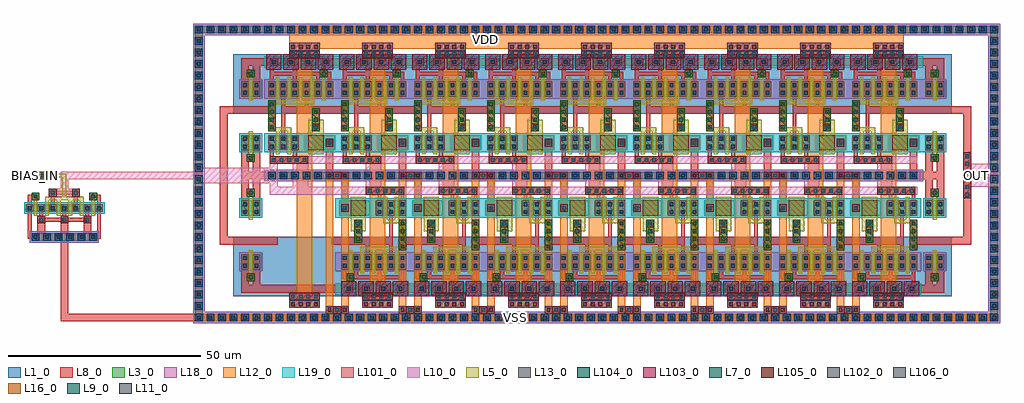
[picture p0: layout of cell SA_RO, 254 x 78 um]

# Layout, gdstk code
from math import pi, radians
import gdstk
lib = gdstk.Library(unit=1e-6, precision=5e-07)
def R(c, l, rs):  # rectangles x0, y0, x1, y1
    for r in rs: c.add(gdstk.rectangle(r[:2], r[2:], *l))
def P(c, l, *ps):  # polygons
    for p in ps: c.add(gdstk.Polygon(p, *l))
L1_0 = (1, 0)
L3_0 = (3, 0)
L5_0 = (5, 0)
L7_0 = (7, 0)
L8_0 = (8, 0)
L9_0 = (9, 0)
L10_0 = (10, 0)
L11_0 = (11, 0)
L12_0 = (12, 0)
L13_0 = (13, 0)
L16_0 = (16, 0)
L18_0 = (18, 0)
L19_0 = (19, 0)
L101_0 = (101, 0)
L102_0 = (102, 0)
L103_0 = (103, 0)
L104_0 = (104, 0)
L105_0 = (105, 0)
L106_0 = (106, 0)

pcont_1 = lib.new_cell('pcont$1')
R(pcont_1, L5_0, [(-1,-1,1,1)])
R(pcont_1, L7_0, [(-0.5,-0.5,0.5,0.5)])
R(pcont_1, L8_0, [(-1,-1,1,1)])
R(pcont_1, L13_0, [(-0.5,-0.5,0.5,0.5)])
R(pcont_1, L102_0, [(-1,-1,1,1)])

dcont_1 = lib.new_cell('dcont$1')
R(dcont_1, L3_0, [(-1,-1,1,1)])
R(dcont_1, L7_0, [(-0.5,-0.5,0.5,0.5)])
R(dcont_1, L8_0, [(-1,-1,1,1)])
R(dcont_1, L13_0, [(-0.5,-0.5,0.5,0.5)])
R(dcont_1, L101_0, [(-1,-1,1,1)])

nch = lib.new_cell('Nch')
R(nch, L3_0, [(0,3,8,7)])
R(nch, L19_0, [(-0.5,2.5,8.5,7.5)])
nch.add(gdstk.FlexPath([(1,3),(1,7)], 2, ends="flush", simple_path=True, layer=8, datatype=0))  # L8_0
nch.add(gdstk.FlexPath([(4,3),(4,7)], 2, ends="flush", simple_path=True, layer=8, datatype=0))  # L8_0
nch.add(gdstk.FlexPath([(7,3),(7,7)], 2, ends="flush", simple_path=True, layer=8, datatype=0))  # L8_0
nch.add(gdstk.FlexPath([(1,1),(1,4)], 1, ends="flush", simple_path=True, layer=8, datatype=0))  # L8_0
nch.add(gdstk.FlexPath([(4,6),(4,10)], 1, ends="flush", simple_path=True, layer=8, datatype=0))  # L8_0
nch.add(gdstk.FlexPath([(7,1),(7,4)], 1, ends="flush", simple_path=True, layer=8, datatype=0))  # L8_0
nch.add(gdstk.FlexPath([(1,1),(7,1)], 1, ends="extended", simple_path=True, layer=8, datatype=0))  # L8_0
nch.add(gdstk.FlexPath([(2.5,3),(2.5,7)], 1, ends=(1, 1), simple_path=True, layer=5, datatype=0))  # L5_0
nch.add(gdstk.FlexPath([(5.5,3),(5.5,7)], 1, ends=(1, 1), simple_path=True, layer=5, datatype=0))  # L5_0
nch.add(gdstk.FlexPath([(2,8.5),(6,8.5)], 1, ends="flush", simple_path=True, layer=5, datatype=0))  # L5_0
nch.add(gdstk.Reference(dcont_1, (1,4)))
nch.add(gdstk.Reference(dcont_1, (1,6)))
nch.add(gdstk.Reference(dcont_1, (4,4)))
nch.add(gdstk.Reference(dcont_1, (4,6)))
nch.add(gdstk.Reference(dcont_1, (7,4)))
nch.add(gdstk.Reference(dcont_1, (7,6)))

dcont1 = lib.new_cell('dcont1')
R(dcont1, L3_0, [(-1,-1,1,1)])
R(dcont1, L7_0, [(-0.5,-0.5,0.5,0.5)])
R(dcont1, L8_0, [(-1,-1,1,1)])
R(dcont1, L13_0, [(-0.5,-0.5,0.5,0.5)])
R(dcont1, L101_0, [(-1,-1,1,1)])

psubcont = lib.new_cell('psubcont')
R(psubcont, L18_0, [(-1.5,-1.5,1.5,1.5)])
R(psubcont, L104_0, [(-1,-1,1,1)])
psubcont.add(gdstk.Reference(dcont1, (0,0)))

pch = lib.new_cell('Pch')
R(pch, L1_0, [(-2,0,7,11.5)])
R(pch, L3_0, [(0,3,5,7)])
R(pch, L18_0, [(-0.5,2.5,5.5,7.5)])
pch.add(gdstk.FlexPath([(1,3),(1,7)], 2, ends="flush", simple_path=True, layer=8, datatype=0))  # L8_0
pch.add(gdstk.FlexPath([(4,3),(4,7)], 2, ends="flush", simple_path=True, layer=8, datatype=0))  # L8_0
pch.add(gdstk.FlexPath([(2.5,3),(2.5,7)], 1, ends=(1, 1), simple_path=True, layer=5, datatype=0))  # L5_0
pch.add(gdstk.Reference(dcont_1, (1,4)))
pch.add(gdstk.Reference(dcont_1, (1,6)))
pch.add(gdstk.Reference(dcont_1, (4,4)))
pch.add(gdstk.Reference(dcont_1, (4,6)))

pch_1 = lib.new_cell('Pch$1')
R(pch_1, L1_0, [(-2,-1.5,16,10)])
R(pch_1, L3_0, [(0,3,14,7)])
R(pch_1, L18_0, [(-0.5,2.5,14.5,7.5)])
pch_1.add(gdstk.FlexPath([(1,3),(1,7)], 2, ends="flush", simple_path=True, layer=8, datatype=0))  # L8_0
pch_1.add(gdstk.FlexPath([(4,3),(4,7)], 2, ends="flush", simple_path=True, layer=8, datatype=0))  # L8_0
pch_1.add(gdstk.FlexPath([(7,3),(7,7)], 2, ends="flush", simple_path=True, layer=8, datatype=0))  # L8_0
pch_1.add(gdstk.FlexPath([(10,3),(10,7)], 2, ends="flush", simple_path=True, layer=8, datatype=0))  # L8_0
pch_1.add(gdstk.FlexPath([(13,3),(13,7)], 2, ends="flush", simple_path=True, layer=8, datatype=0))  # L8_0
pch_1.add(gdstk.FlexPath([(1,6),(1,9)], 1, ends="flush", simple_path=True, layer=8, datatype=0))  # L8_0
pch_1.add(gdstk.FlexPath([(4,0),(4,4)], 1, ends="flush", simple_path=True, layer=8, datatype=0))  # L8_0
pch_1.add(gdstk.FlexPath([(7,6),(7,9)], 1, ends="flush", simple_path=True, layer=8, datatype=0))  # L8_0
pch_1.add(gdstk.FlexPath([(1,9),(7,9)], 1, ends="extended", simple_path=True, layer=8, datatype=0))  # L8_0
pch_1.add(gdstk.FlexPath([(10,0),(10,4)], 1, ends="flush", simple_path=True, layer=8, datatype=0))  # L8_0
pch_1.add(gdstk.FlexPath([(4,0),(10,0)], 1, ends="extended", simple_path=True, layer=8, datatype=0))  # L8_0
pch_1.add(gdstk.FlexPath([(13,6),(13,9)], 1, ends="flush", simple_path=True, layer=8, datatype=0))  # L8_0
pch_1.add(gdstk.FlexPath([(7,9),(13,9)], 1, ends="extended", simple_path=True, layer=8, datatype=0))  # L8_0
pch_1.add(gdstk.FlexPath([(2.5,3),(2.5,7)], 1, ends=(1, 1), simple_path=True, layer=5, datatype=0))  # L5_0
pch_1.add(gdstk.FlexPath([(5.5,3),(5.5,7)], 1, ends=(1, 1), simple_path=True, layer=5, datatype=0))  # L5_0
pch_1.add(gdstk.FlexPath([(8.5,3),(8.5,7)], 1, ends=(1, 1), simple_path=True, layer=5, datatype=0))  # L5_0
pch_1.add(gdstk.FlexPath([(11.5,3),(11.5,7)], 1, ends=(1, 1), simple_path=True, layer=5, datatype=0))  # L5_0
pch_1.add(gdstk.FlexPath([(2,1.5),(6,1.5)], 1, ends="flush", simple_path=True, layer=5, datatype=0))  # L5_0
pch_1.add(gdstk.FlexPath([(5,1.5),(9,1.5)], 1, ends="flush", simple_path=True, layer=5, datatype=0))  # L5_0
pch_1.add(gdstk.FlexPath([(8,1.5),(12,1.5)], 1, ends="flush", simple_path=True, layer=5, datatype=0))  # L5_0
pch_1.add(gdstk.Reference(dcont_1, (1,4)))
pch_1.add(gdstk.Reference(dcont_1, (1,6)))
pch_1.add(gdstk.Reference(dcont_1, (4,4)))
pch_1.add(gdstk.Reference(dcont_1, (4,6)))
pch_1.add(gdstk.Reference(dcont_1, (7,4)))
pch_1.add(gdstk.Reference(dcont_1, (7,6)))
pch_1.add(gdstk.Reference(dcont_1, (10,4)))
pch_1.add(gdstk.Reference(dcont_1, (10,6)))
pch_1.add(gdstk.Reference(dcont_1, (13,4)))
pch_1.add(gdstk.Reference(dcont_1, (13,6)))

pcont_2 = lib.new_cell('pcont$2')
R(pcont_2, L5_0, [(-1,-1,1,1)])
R(pcont_2, L7_0, [(-0.5,-0.5,0.5,0.5)])
R(pcont_2, L8_0, [(-1,-1,1,1)])
R(pcont_2, L13_0, [(-0.5,-0.5,0.5,0.5)])
R(pcont_2, L102_0, [(-1,-1,1,1)])

via_1 = lib.new_cell('Via$1')
R(via_1, L8_0, [(-1,-1,1,1)])
R(via_1, L9_0, [(-0.5,-0.5,0.5,0.5)])
R(via_1, L10_0, [(-1,-1,1,1)])
R(via_1, L13_0, [(-0.5,-0.5,0.5,0.5)])
R(via_1, L105_0, [(-1,-1,1,1)])

ndiff_cap = lib.new_cell('Ndiff_cap')
R(ndiff_cap, L3_0, [(0,-1,4,7)])
R(ndiff_cap, L5_0, [(-4,0,5,4)])
R(ndiff_cap, L16_0, [(0,0,4,4)])
R(ndiff_cap, L19_0, [(-0.5,-1.5,4.5,7.5)])
ndiff_cap.add(gdstk.Reference(pcont_2, (-2,2)))
ndiff_cap.add(gdstk.Reference(via_1, (-2,2)))
ndiff_cap.add(gdstk.Reference(dcont_1, (2,5.5)))
ndiff_cap.add(gdstk.Reference(via_1, (2,5.5)))

nsubcont = lib.new_cell('nsubcont')
R(nsubcont, L1_0, [(-2,-2,2,2)])
R(nsubcont, L19_0, [(-1.5,-1.5,1.5,1.5)])
R(nsubcont, L103_0, [(-2,-2,2,2)])
nsubcont.add(gdstk.Reference(dcont1, (0,0)))

via_2 = lib.new_cell('Via$2')
R(via_2, L8_0, [(-1,-1,1,1)])
R(via_2, L9_0, [(-0.5,-0.5,0.5,0.5)])
R(via_2, L10_0, [(-1,-1,1,1)])
R(via_2, L13_0, [(-0.5,-0.5,0.5,0.5)])
R(via_2, L105_0, [(-1,-1,1,1)])

sa_vco_inv = lib.new_cell('SA_VCO_INV')
R(sa_vco_inv, L1_0, [(-1.5,17.5,19.5,33)])
R(sa_vco_inv, L3_0, [(0.5,0.5,17.5,2.5), (1,30,16.5,32)])
R(sa_vco_inv, L18_0, [(-0.5,0,19,3), (-0.5,21.5,19,26.5)])
R(sa_vco_inv, L19_0, [(-0.5,7.5,19,12.5), (9,7.5,9.5,12.5), (-0.5,29.5,19,32.5)])
sa_vco_inv.add(gdstk.FlexPath([(4.5,18.5),(20,18.5)], 2, ends="flush", simple_path=True, layer=8, datatype=0))  # L8_0
sa_vco_inv.add(gdstk.FlexPath([(4.5,15),(4.5,19)], 1, ends="flush", simple_path=True, layer=8, datatype=0))  # L8_0
sa_vco_inv.add(gdstk.FlexPath([(0.5,1.5),(17.5,1.5)], 2, ends="flush", simple_path=True, layer=8, datatype=0))  # L8_0
sa_vco_inv.add(gdstk.FlexPath([(16.5,10),(16.5,1.5)], 2, ends="flush", simple_path=True, layer=8, datatype=0))  # L8_0
sa_vco_inv.add(gdstk.FlexPath([(16.5,25),(16.5,28),(14,28)], 1, ends="flush", simple_path=True, layer=8, datatype=0))  # L8_0
sa_vco_inv.add(gdstk.FlexPath([(0.5,31),(17.5,31)], 2, ends="flush", simple_path=True, layer=8, datatype=0))  # L8_0
sa_vco_inv.add(gdstk.FlexPath([(7.5,28),(7.5,31)], 1, ends="flush", simple_path=True, layer=8, datatype=0))  # L8_0
sa_vco_inv.add(gdstk.FlexPath([(15,28),(15,31)], 1, ends="flush", simple_path=True, layer=8, datatype=0))  # L8_0
sa_vco_inv.add(gdstk.FlexPath([(1.5,28),(1.5,31)], 1, ends="flush", simple_path=True, layer=8, datatype=0))  # L8_0
r = gdstk.Reference(pcont_1, (1.5,14)); r.repetition = gdstk.Repetition(1, 4, v1=(0,0), v2=(0,2)); sa_vco_inv.add(r)
sa_vco_inv.add(gdstk.Reference(nch, (0.5,5)))
sa_vco_inv.add(gdstk.Reference(pcont_1, (13,16)))
sa_vco_inv.add(gdstk.Reference(pcont_1, (13,18)))
r = gdstk.Reference(psubcont, (1.5,1.5)); r.repetition = gdstk.Repetition(6, 1, v1=(3,0), v2=(0,0)); sa_vco_inv.add(r)
sa_vco_inv.add(gdstk.Reference(pch, (17.5,29), rotation=pi))
sa_vco_inv.add(gdstk.Reference(pch_1, (0.5,19)))
sa_vco_inv.add(gdstk.Reference(pcont_1, (15,28)))
sa_vco_inv.add(gdstk.Reference(ndiff_cap, (11,12), rotation=3*pi/2))
r = gdstk.Reference(nsubcont, (2,31)); r.repetition = gdstk.Repetition(4, 1, v1=(4.5,0), v2=(0,0)); sa_vco_inv.add(r)
r = gdstk.Reference(via_2, (2,5.5)); r.repetition = gdstk.Repetition(5, 1, v1=(2,0), v2=(0,0)); sa_vco_inv.add(r)
sa_vco_inv.add(gdstk.Label('VDD', (1,31), layer=8, texttype=0))
sa_vco_inv.add(gdstk.Label('VSS', (1.5,1.5), layer=8, texttype=0))
sa_vco_inv.add(gdstk.Label('IN', (1.5,17), layer=8, texttype=0))
sa_vco_inv.add(gdstk.Label('OUT', (17.5,18.5), layer=8, texttype=0))
sa_vco_inv.add(gdstk.Label('nchSource', (2,5.5), layer=10, texttype=0))

dcont1_1 = lib.new_cell('dcont1$1')
R(dcont1_1, L3_0, [(-1,-1,1,1)])
R(dcont1_1, L7_0, [(-0.5,-0.5,0.5,0.5)])
R(dcont1_1, L8_0, [(-1,-1,1,1)])
R(dcont1_1, L13_0, [(-0.5,-0.5,0.5,0.5)])
R(dcont1_1, L101_0, [(-1,-1,1,1)])

psubcont_1 = lib.new_cell('psubcont$1')
R(psubcont_1, L18_0, [(-1.5,-1.5,1.5,1.5)])
R(psubcont_1, L104_0, [(-1,-1,1,1)])
psubcont_1.add(gdstk.Reference(dcont1_1, (0,0)))

via2 = lib.new_cell('Via2')
R(via2, L10_0, [(-1,-1,1,1)])
R(via2, L11_0, [(-0.5,-0.5,0.5,0.5)])
P(via2, L11_0, [(-1,0),(-1,0),(-1,0),(-1,0)],
  [(1,1),(1,1),(1,1),(1,1)])
R(via2, L12_0, [(-1,-1,1,1)])
R(via2, L13_0, [(-0.5,-0.5,0.5,0.5)])
R(via2, L106_0, [(-1,-1,1,1)])

via_3 = lib.new_cell('Via$3')
R(via_3, L8_0, [(-1,-1,1,1)])
R(via_3, L9_0, [(-0.5,-0.5,0.5,0.5)])
R(via_3, L10_0, [(-1,-1,1,1)])
R(via_3, L13_0, [(-0.5,-0.5,0.5,0.5)])
R(via_3, L105_0, [(-1,-1,1,1)])

sa_vco_inv_1 = lib.new_cell('SA_VCO_INV$1')
R(sa_vco_inv_1, L1_0, [(-1.5,17.5,19.5,33)])
R(sa_vco_inv_1, L3_0, [(0.5,0.5,17.5,2.5), (1,30,16.5,32)])
R(sa_vco_inv_1, L18_0, [(-0.5,0,19,3), (-0.5,21.5,19,26.5)])
R(sa_vco_inv_1, L19_0, [(-0.5,7.5,19,12.5), (9,7.5,9.5,12.5), (-0.5,29.5,19,32.5)])
sa_vco_inv_1.add(gdstk.FlexPath([(4.5,18.5),(20,18.5)], 2, ends="flush", simple_path=True, layer=8, datatype=0))  # L8_0
sa_vco_inv_1.add(gdstk.FlexPath([(4.5,15),(4.5,19)], 1, ends="flush", simple_path=True, layer=8, datatype=0))  # L8_0
sa_vco_inv_1.add(gdstk.FlexPath([(0.5,1.5),(17.5,1.5)], 2, ends="flush", simple_path=True, layer=8, datatype=0))  # L8_0
sa_vco_inv_1.add(gdstk.FlexPath([(16.5,10),(16.5,1.5)], 2, ends="flush", simple_path=True, layer=8, datatype=0))  # L8_0
sa_vco_inv_1.add(gdstk.FlexPath([(16.5,25),(16.5,28),(14,28)], 1, ends="flush", simple_path=True, layer=8, datatype=0))  # L8_0
sa_vco_inv_1.add(gdstk.FlexPath([(0.5,31),(17.5,31)], 2, ends="flush", simple_path=True, layer=8, datatype=0))  # L8_0
sa_vco_inv_1.add(gdstk.FlexPath([(7.5,28),(7.5,31)], 1, ends="flush", simple_path=True, layer=8, datatype=0))  # L8_0
sa_vco_inv_1.add(gdstk.FlexPath([(15,28),(15,31)], 1, ends="flush", simple_path=True, layer=8, datatype=0))  # L8_0
sa_vco_inv_1.add(gdstk.FlexPath([(1.5,28),(1.5,31)], 1, ends="flush", simple_path=True, layer=8, datatype=0))  # L8_0
r = gdstk.Reference(pcont_1, (1.5,14)); r.repetition = gdstk.Repetition(1, 4, v1=(0,0), v2=(0,2)); sa_vco_inv_1.add(r)
sa_vco_inv_1.add(gdstk.Reference(nch, (0.5,5)))
sa_vco_inv_1.add(gdstk.Reference(pcont_1, (13,16)))
sa_vco_inv_1.add(gdstk.Reference(pcont_1, (13,18)))
r = gdstk.Reference(psubcont, (1.5,1.5)); r.repetition = gdstk.Repetition(6, 1, v1=(3,0), v2=(0,0)); sa_vco_inv_1.add(r)
sa_vco_inv_1.add(gdstk.Reference(pch, (17.5,29), rotation=pi))
sa_vco_inv_1.add(gdstk.Reference(pch_1, (0.5,19)))
sa_vco_inv_1.add(gdstk.Reference(pcont_1, (15,28)))
sa_vco_inv_1.add(gdstk.Reference(ndiff_cap, (11,12), rotation=3*pi/2))
r = gdstk.Reference(nsubcont, (2,31)); r.repetition = gdstk.Repetition(4, 1, v1=(4.5,0), v2=(0,0)); sa_vco_inv_1.add(r)
r = gdstk.Reference(via_2, (2,5.5)); r.repetition = gdstk.Repetition(5, 1, v1=(2,0), v2=(0,0)); sa_vco_inv_1.add(r)
sa_vco_inv_1.add(gdstk.Label('VDD', (1,31), layer=8, texttype=0))
sa_vco_inv_1.add(gdstk.Label('VSS', (1.5,1.5), layer=8, texttype=0))
sa_vco_inv_1.add(gdstk.Label('IN', (1.5,17), layer=8, texttype=0))
sa_vco_inv_1.add(gdstk.Label('OUT', (17.5,18.5), layer=8, texttype=0))
sa_vco_inv_1.add(gdstk.Label('nchSource', (2,5.5), layer=10, texttype=0))

pcont_4 = lib.new_cell('pcont$4')
R(pcont_4, L5_0, [(-1,-1,1,1)])
R(pcont_4, L7_0, [(-0.5,-0.5,0.5,0.5)])
R(pcont_4, L8_0, [(-1,-1,1,1)])
R(pcont_4, L13_0, [(-0.5,-0.5,0.5,0.5)])
R(pcont_4, L102_0, [(-1,-1,1,1)])

dcont = lib.new_cell('dcont')
R(dcont, L3_0, [(-1,-1,1,1)])
R(dcont, L7_0, [(-0.5,-0.5,0.5,0.5)])
R(dcont, L8_0, [(-1,-1,1,1)])
R(dcont, L13_0, [(-0.5,-0.5,0.5,0.5)])
R(dcont, L101_0, [(-1,-1,1,1)])

nch_2 = lib.new_cell('Nch$2')
R(nch_2, L3_0, [(0,3,5,7)])
R(nch_2, L19_0, [(-0.5,2.5,5.5,7.5)])
nch_2.add(gdstk.FlexPath([(1,3),(1,7)], 2, ends="flush", simple_path=True, layer=8, datatype=0))  # L8_0
nch_2.add(gdstk.FlexPath([(4,3),(4,7)], 2, ends="flush", simple_path=True, layer=8, datatype=0))  # L8_0
nch_2.add(gdstk.FlexPath([(2.5,3),(2.5,7)], 1, ends=(1, 1), simple_path=True, layer=5, datatype=0))  # L5_0
nch_2.add(gdstk.Reference(dcont, (1,4)))
nch_2.add(gdstk.Reference(dcont, (1,6)))
nch_2.add(gdstk.Reference(dcont, (4,4)))
nch_2.add(gdstk.Reference(dcont, (4,6)))

pcont_3 = lib.new_cell('pcont$3')
R(pcont_3, L5_0, [(-1,-1,1,1)])
R(pcont_3, L7_0, [(-0.5,-0.5,0.5,0.5)])
R(pcont_3, L8_0, [(-1,-1,1,1)])
R(pcont_3, L13_0, [(-0.5,-0.5,0.5,0.5)])
R(pcont_3, L102_0, [(-1,-1,1,1)])

pch_3 = lib.new_cell('Pch$3')
R(pch_3, L1_0, [(-2,0,7,11.5)])
R(pch_3, L3_0, [(0,3,5,7)])
R(pch_3, L18_0, [(-0.5,2.5,5.5,7.5)])
pch_3.add(gdstk.FlexPath([(1,3),(1,7)], 2, ends="flush", simple_path=True, layer=8, datatype=0))  # L8_0
pch_3.add(gdstk.FlexPath([(4,3),(4,7)], 2, ends="flush", simple_path=True, layer=8, datatype=0))  # L8_0
pch_3.add(gdstk.FlexPath([(2.5,3),(2.5,7)], 1, ends=(1, 1), simple_path=True, layer=5, datatype=0))  # L5_0
pch_3.add(gdstk.Reference(dcont, (1,4)))
pch_3.add(gdstk.Reference(dcont, (1,6)))
pch_3.add(gdstk.Reference(dcont, (4,4)))
pch_3.add(gdstk.Reference(dcont, (4,6)))

dcont1_2 = lib.new_cell('dcont1$2')
R(dcont1_2, L3_0, [(-1,-1,1,1)])
R(dcont1_2, L7_0, [(-0.5,-0.5,0.5,0.5)])
R(dcont1_2, L8_0, [(-1,-1,1,1)])
R(dcont1_2, L13_0, [(-0.5,-0.5,0.5,0.5)])
R(dcont1_2, L101_0, [(-1,-1,1,1)])

psubcont_2 = lib.new_cell('psubcont$2')
R(psubcont_2, L18_0, [(-1.5,-1.5,1.5,1.5)])
R(psubcont_2, L104_0, [(-1,-1,1,1)])
psubcont_2.add(gdstk.Reference(dcont1_2, (0,0)))

via = lib.new_cell('Via')
R(via, L8_0, [(-1,-1,1,1)])
R(via, L9_0, [(-0.5,-0.5,0.5,0.5)])
R(via, L10_0, [(-1,-1,1,1)])
R(via, L13_0, [(-0.5,-0.5,0.5,0.5)])
R(via, L105_0, [(-1,-1,1,1)])

nch_5 = lib.new_cell('Nch$5')
R(nch_5, L3_0, [(0,3,14,5)])
R(nch_5, L19_0, [(-0.5,2.5,14.5,5.5)])
nch_5.add(gdstk.FlexPath([(1,3),(1,5)], 2, ends="flush", simple_path=True, layer=8, datatype=0))  # L8_0
nch_5.add(gdstk.FlexPath([(4,3),(4,5)], 2, ends="flush", simple_path=True, layer=8, datatype=0))  # L8_0
nch_5.add(gdstk.FlexPath([(7,3),(7,5)], 2, ends="flush", simple_path=True, layer=8, datatype=0))  # L8_0
nch_5.add(gdstk.FlexPath([(10,3),(10,5)], 2, ends="flush", simple_path=True, layer=8, datatype=0))  # L8_0
nch_5.add(gdstk.FlexPath([(13,3),(13,5)], 2, ends="flush", simple_path=True, layer=8, datatype=0))  # L8_0
nch_5.add(gdstk.FlexPath([(1,1),(1,4)], 1, ends="flush", simple_path=True, layer=8, datatype=0))  # L8_0
nch_5.add(gdstk.FlexPath([(4,4),(4,8)], 1, ends="flush", simple_path=True, layer=8, datatype=0))  # L8_0
nch_5.add(gdstk.FlexPath([(7,1),(7,4)], 1, ends="flush", simple_path=True, layer=8, datatype=0))  # L8_0
nch_5.add(gdstk.FlexPath([(1,1),(7,1)], 1, ends="extended", simple_path=True, layer=8, datatype=0))  # L8_0
nch_5.add(gdstk.FlexPath([(10,4),(10,8)], 1, ends="flush", simple_path=True, layer=8, datatype=0))  # L8_0
nch_5.add(gdstk.FlexPath([(4,8),(10,8)], 1, ends="extended", simple_path=True, layer=8, datatype=0))  # L8_0
nch_5.add(gdstk.FlexPath([(13,1),(13,4)], 1, ends="flush", simple_path=True, layer=8, datatype=0))  # L8_0
nch_5.add(gdstk.FlexPath([(7,1),(13,1)], 1, ends="extended", simple_path=True, layer=8, datatype=0))  # L8_0
nch_5.add(gdstk.FlexPath([(2.5,3),(2.5,5)], 1, ends=(1, 1), simple_path=True, layer=5, datatype=0))  # L5_0
nch_5.add(gdstk.FlexPath([(5.5,3),(5.5,5)], 1, ends=(1, 1), simple_path=True, layer=5, datatype=0))  # L5_0
nch_5.add(gdstk.FlexPath([(8.5,3),(8.5,5)], 1, ends=(1, 1), simple_path=True, layer=5, datatype=0))  # L5_0
nch_5.add(gdstk.FlexPath([(11.5,3),(11.5,5)], 1, ends=(1, 1), simple_path=True, layer=5, datatype=0))  # L5_0
nch_5.add(gdstk.FlexPath([(2,6.5),(6,6.5)], 1, ends="flush", simple_path=True, layer=5, datatype=0))  # L5_0
nch_5.add(gdstk.FlexPath([(5,6.5),(9,6.5)], 1, ends="flush", simple_path=True, layer=5, datatype=0))  # L5_0
nch_5.add(gdstk.FlexPath([(8,6.5),(12,6.5)], 1, ends="flush", simple_path=True, layer=5, datatype=0))  # L5_0
nch_5.add(gdstk.Reference(dcont, (1,4)))
nch_5.add(gdstk.Reference(dcont, (4,4)))
nch_5.add(gdstk.Reference(dcont, (7,4)))
nch_5.add(gdstk.Reference(dcont, (10,4)))
nch_5.add(gdstk.Reference(dcont, (13,4)))
nch_5.add(gdstk.Reference(via, (1,1)))
nch_5.add(gdstk.Reference(via, (4,8)))
nch_5.add(gdstk.Reference(via, (7,1)))
nch_5.add(gdstk.Reference(via, (10,8)))
nch_5.add(gdstk.Reference(via, (13,1)))

pcont = lib.new_cell('pcont')
R(pcont, L5_0, [(-1,-1,1,1)])
R(pcont, L7_0, [(-0.5,-0.5,0.5,0.5)])
R(pcont, L8_0, [(-1,-1,1,1)])
R(pcont, L13_0, [(-0.5,-0.5,0.5,0.5)])
R(pcont, L102_0, [(-1,-1,1,1)])

nch_4 = lib.new_cell('Nch$4')
R(nch_4, L3_0, [(0,3,5,5)])
R(nch_4, L19_0, [(-0.5,2.5,5.5,5.5)])
nch_4.add(gdstk.FlexPath([(1,3),(1,5)], 2, ends="flush", simple_path=True, layer=8, datatype=0))  # L8_0
nch_4.add(gdstk.FlexPath([(4,3),(4,5)], 2, ends="flush", simple_path=True, layer=8, datatype=0))  # L8_0
nch_4.add(gdstk.FlexPath([(2.5,3),(2.5,5)], 1, ends=(1, 1), simple_path=True, layer=5, datatype=0))  # L5_0
nch_4.add(gdstk.FlexPath([(2.5,7),(2.5,6)], 2, ends="flush", simple_path=True, layer=5, datatype=0))  # L5_0
nch_4.add(gdstk.Reference(dcont, (1,4)))
nch_4.add(gdstk.Reference(dcont, (4,4)))
nch_4.add(gdstk.Reference(pcont, (2.5,7)))

sa_ro = lib.new_cell('SA_RO')
R(sa_ro, L1_0, [(10.5,7,197.5,22.5), (10.5,54.5,197.5,70)])
sa_ro.add(gdstk.FlexPath([(-26,22.5),(-41,22.5)], 2, ends="extended", simple_path=True, layer=8, datatype=0))  # L8_0
sa_ro.add(gdstk.FlexPath([(1.5,1.5),(-33.5,1.5),(-33.5,22.5)], 2, ends="extended", simple_path=True, layer=8, datatype=0))  # L8_0
sa_ro.add(gdstk.FlexPath([(-39.5,27),(-39.5,22.5)], 2, ends="extended", simple_path=True, layer=8, datatype=0))  # L8_0
sa_ro.add(gdstk.FlexPath([(-33.5,27),(-33.5,22.5)], 2, ends="extended", simple_path=True, layer=8, datatype=0))  # L8_0
sa_ro.add(gdstk.FlexPath([(-27.5,27),(-27.5,22.5)], 2, ends="extended", simple_path=True, layer=8, datatype=0))  # L8_0
sa_ro.add(gdstk.FlexPath([(-26,33),(-24.5,33),(-24.5,30)], 1, ends="extended", simple_path=True, layer=8, datatype=0))  # L8_0
sa_ro.add(gdstk.FlexPath([(-41,33),(-42.5,33),(-42.5,30)], 1, ends="extended", simple_path=True, layer=8, datatype=0))  # L8_0
sa_ro.add(gdstk.FlexPath([(-24.5,30),(-24.5,22.5),(-42.5,22.5),(-42.5,30)], 1, ends="extended", simple_path=True, layer=8, datatype=0))  # L8_0
sa_ro.add(gdstk.FlexPath([(195.5,68),(12.5,68)], 2, ends="flush", simple_path=True, layer=8, datatype=0))  # L8_0
sa_ro.add(gdstk.FlexPath([(20.5,9),(189.5,9),(189.5,9),(189.5,9)], 2, ends="extended", simple_path=True, layer=8, datatype=0))  # L8_0
sa_ro.add(gdstk.FlexPath([(20.5,38.5),(189.5,38.5),(189.5,38.5),(189.5,38.5)], 2, ends="extended", simple_path=True, layer=8, datatype=0))  # L8_0
sa_ro.add(gdstk.FlexPath([(191,55.5),(201.5,55.5),(201.5,21.5),(188.5,21.5)], 2, ends="extended", simple_path=True, layer=8, datatype=0))  # L8_0
sa_ro.add(gdstk.FlexPath([(18.5,55.5),(8,55.5),(8,21.5),(21,21.5)], 2, ends="extended", simple_path=True, layer=8, datatype=0))  # L8_0
sa_ro.add(gdstk.FlexPath([(195.5,9),(12.5,9)], 2, ends="flush", simple_path=True, layer=8, datatype=0))  # L8_0
sa_ro.add(gdstk.FlexPath([(195.5,38.5),(12.5,38.5)], 2, ends="flush", simple_path=True, layer=8, datatype=0))  # L8_0
sa_ro.add(gdstk.FlexPath([(13.5,61),(13.5,68)], 2, ends="extended", simple_path=True, layer=8, datatype=0))  # L8_0
sa_ro.add(gdstk.FlexPath([(16.5,61),(16.5,68)], 2, ends="extended", simple_path=True, layer=8, datatype=0))  # L8_0
sa_ro.add(gdstk.FlexPath([(13.5,38.5),(13.5,45.5)], 2, ends="extended", simple_path=True, layer=8, datatype=0))  # L8_0
sa_ro.add(gdstk.FlexPath([(16.5,38.5),(16.5,45.5)], 2, ends="extended", simple_path=True, layer=8, datatype=0))  # L8_0
sa_ro.add(gdstk.FlexPath([(13.5,31.5),(13.5,38.5)], 2, ends="extended", simple_path=True, layer=8, datatype=0))  # L8_0
sa_ro.add(gdstk.FlexPath([(16.5,31.5),(16.5,38.5)], 2, ends="extended", simple_path=True, layer=8, datatype=0))  # L8_0
sa_ro.add(gdstk.FlexPath([(13.5,9),(13.5,16)], 2, ends="extended", simple_path=True, layer=8, datatype=0))  # L8_0
sa_ro.add(gdstk.FlexPath([(16.5,9),(16.5,16)], 2, ends="extended", simple_path=True, layer=8, datatype=0))  # L8_0
sa_ro.add(gdstk.FlexPath([(191.5,61),(191.5,68)], 2, ends="extended", simple_path=True, layer=8, datatype=0))  # L8_0
sa_ro.add(gdstk.FlexPath([(194.5,61),(194.5,68)], 2, ends="extended", simple_path=True, layer=8, datatype=0))  # L8_0
sa_ro.add(gdstk.FlexPath([(191.5,38.5),(191.5,45.5)], 2, ends="extended", simple_path=True, layer=8, datatype=0))  # L8_0
sa_ro.add(gdstk.FlexPath([(194.5,38.5),(194.5,45.5)], 2, ends="extended", simple_path=True, layer=8, datatype=0))  # L8_0
sa_ro.add(gdstk.FlexPath([(191.5,31.5),(191.5,38.5)], 2, ends="extended", simple_path=True, layer=8, datatype=0))  # L8_0
sa_ro.add(gdstk.FlexPath([(194.5,31.5),(194.5,38.5)], 2, ends="extended", simple_path=True, layer=8, datatype=0))  # L8_0
sa_ro.add(gdstk.FlexPath([(191.5,9),(191.5,16)], 2, ends="extended", simple_path=True, layer=8, datatype=0))  # L8_0
sa_ro.add(gdstk.FlexPath([(194.5,9),(194.5,16)], 2, ends="extended", simple_path=True, layer=8, datatype=0))  # L8_0
sa_ro.add(gdstk.FlexPath([(1.5,76.5),(1.5,1.5)], 2, ends="extended", simple_path=True, layer=8, datatype=0))  # L8_0
sa_ro.add(gdstk.FlexPath([(208.5,76.5),(208.5,1.5)], 2, ends="extended", simple_path=True, layer=8, datatype=0))  # L8_0
sa_ro.add(gdstk.FlexPath([(208.5,76.5),(1.5,76.5)], 2, ends="extended", simple_path=True, layer=8, datatype=0))  # L8_0
sa_ro.add(gdstk.FlexPath([(208.5,1.5),(1.5,1.5)], 2, ends="extended", simple_path=True, layer=8, datatype=0))  # L8_0
sa_ro.add(gdstk.FlexPath([(1.5,38.5),(-33.5,38.5),(-33.5,34)], 2, ends="extended", simple_path=True, layer=10, datatype=0))  # L10_0
sa_ro.add(gdstk.FlexPath([(-30.5,34),(-36.5,34)], 2, ends="extended", simple_path=True, layer=10, datatype=0))  # L10_0
sa_ro.add(gdstk.FlexPath([(20,42.5),(188.5,42.5)], 2, ends="flush", simple_path=True, layer=10, datatype=0))  # L10_0
sa_ro.add(gdstk.FlexPath([(20,34.5),(188.5,34.5)], 2, ends="flush", simple_path=True, layer=10, datatype=0))  # L10_0
sa_ro.add(gdstk.FlexPath([(21,42.5),(21,34.5)], 2, ends="extended", simple_path=True, layer=10, datatype=0))  # L10_0
sa_ro.add(gdstk.FlexPath([(21,38.5),(0,38.5)], 4, ends="flush", simple_path=True, layer=10, datatype=0))  # L10_0
sa_ro.add(gdstk.FlexPath([(201.5,38.5),(209.5,38.5)], 6, ends="flush", simple_path=True, layer=10, datatype=0))  # L10_0
sa_ro.add(gdstk.FlexPath([(28,34.5),(28,42.5)], 4, ends="flush", simple_path=True, layer=10, datatype=0))  # L10_0
sa_ro.add(gdstk.FlexPath([(47,34.5),(47,42.5)], 4, ends="flush", simple_path=True, layer=10, datatype=0))  # L10_0
sa_ro.add(gdstk.FlexPath([(66,34.5),(66,42.5)], 4, ends="flush", simple_path=True, layer=10, datatype=0))  # L10_0
sa_ro.add(gdstk.FlexPath([(85,34.5),(85,42.5)], 4, ends="flush", simple_path=True, layer=10, datatype=0))  # L10_0
sa_ro.add(gdstk.FlexPath([(104,34.5),(104,42.5)], 4, ends="flush", simple_path=True, layer=10, datatype=0))  # L10_0
sa_ro.add(gdstk.FlexPath([(123,34.5),(123,42.5)], 4, ends="flush", simple_path=True, layer=10, datatype=0))  # L10_0
sa_ro.add(gdstk.FlexPath([(142,34.5),(142,42.5)], 4, ends="flush", simple_path=True, layer=10, datatype=0))  # L10_0
sa_ro.add(gdstk.FlexPath([(161,34.5),(161,42.5)], 4, ends="flush", simple_path=True, layer=10, datatype=0))  # L10_0
sa_ro.add(gdstk.FlexPath([(180,34.5),(180,42.5)], 4, ends="flush", simple_path=True, layer=10, datatype=0))  # L10_0
sa_ro.add(gdstk.FlexPath([(-33.5,32.5),(-33.5,38.5),(-41,38.5)], 1, ends="extended", simple_path=True, layer=5, datatype=0))  # L5_0
sa_ro.add(gdstk.FlexPath([(-26,22.5),(-41,22.5)], 2, ends="extended", simple_path=True, layer=3, datatype=0))  # L3_0
sa_ro.add(gdstk.FlexPath([(1.5,76.5),(208.5,76.5)], 2, ends="extended", simple_path=True, layer=3, datatype=0))  # L3_0
sa_ro.add(gdstk.FlexPath([(1.5,1.5),(208.5,1.5)], 2, ends="extended", simple_path=True, layer=3, datatype=0))  # L3_0
sa_ro.add(gdstk.FlexPath([(1.5,1.5),(1.5,76.5),(1.5,76.5)], 2, ends="extended", simple_path=True, layer=3, datatype=0))  # L3_0
sa_ro.add(gdstk.FlexPath([(208.5,1.5),(208.5,76.5),(208.5,76.5)], 2, ends="extended", simple_path=True, layer=3, datatype=0))  # L3_0
sa_ro.add(gdstk.FlexPath([(35.5,3.5),(35.5,38.5)], 2, ends="extended", simple_path=True, layer=12, datatype=0))  # L12_0
sa_ro.add(gdstk.FlexPath([(39.5,3.5),(39.5,38.5)], 2, ends="extended", simple_path=True, layer=12, datatype=0))  # L12_0
sa_ro.add(gdstk.FlexPath([(54.5,3.5),(54.5,38.5)], 2, ends="extended", simple_path=True, layer=12, datatype=0))  # L12_0
sa_ro.add(gdstk.FlexPath([(58.5,3.5),(58.5,38.5)], 2, ends="extended", simple_path=True, layer=12, datatype=0))  # L12_0
sa_ro.add(gdstk.FlexPath([(73.5,3.5),(73.5,38.5)], 2, ends="extended", simple_path=True, layer=12, datatype=0))  # L12_0
sa_ro.add(gdstk.FlexPath([(77.5,3.5),(77.5,38.5)], 2, ends="extended", simple_path=True, layer=12, datatype=0))  # L12_0
sa_ro.add(gdstk.FlexPath([(92.5,3.5),(92.5,38.5)], 2, ends="extended", simple_path=True, layer=12, datatype=0))  # L12_0
sa_ro.add(gdstk.FlexPath([(96.5,3.5),(96.5,38.5)], 2, ends="extended", simple_path=True, layer=12, datatype=0))  # L12_0
sa_ro.add(gdstk.FlexPath([(111.5,3.5),(111.5,38.5)], 2, ends="extended", simple_path=True, layer=12, datatype=0))  # L12_0
sa_ro.add(gdstk.FlexPath([(115.5,3.5),(115.5,38.5)], 2, ends="extended", simple_path=True, layer=12, datatype=0))  # L12_0
sa_ro.add(gdstk.FlexPath([(130.5,3.5),(130.5,38.5)], 2, ends="extended", simple_path=True, layer=12, datatype=0))  # L12_0
sa_ro.add(gdstk.FlexPath([(134.5,3.5),(134.5,38.5)], 2, ends="extended", simple_path=True, layer=12, datatype=0))  # L12_0
sa_ro.add(gdstk.FlexPath([(149.5,3.5),(149.5,38.5)], 2, ends="extended", simple_path=True, layer=12, datatype=0))  # L12_0
sa_ro.add(gdstk.FlexPath([(153.5,3.5),(153.5,38.5)], 2, ends="extended", simple_path=True, layer=12, datatype=0))  # L12_0
sa_ro.add(gdstk.FlexPath([(168.5,3.5),(168.5,38.5)], 2, ends="extended", simple_path=True, layer=12, datatype=0))  # L12_0
sa_ro.add(gdstk.FlexPath([(172.5,3.5),(172.5,38.5)], 2, ends="extended", simple_path=True, layer=12, datatype=0))  # L12_0
sa_ro.add(gdstk.FlexPath([(29,5),(29,76.5)], 4, ends=(1, 1), simple_path=True, layer=12, datatype=0))  # L12_0
sa_ro.add(gdstk.FlexPath([(48,5),(48,76.5)], 4, ends=(1, 1), simple_path=True, layer=12, datatype=0))  # L12_0
sa_ro.add(gdstk.FlexPath([(67,5),(67,76.5)], 4, ends=(1, 1), simple_path=True, layer=12, datatype=0))  # L12_0
sa_ro.add(gdstk.FlexPath([(86,5),(86,76.5)], 4, ends=(1, 1), simple_path=True, layer=12, datatype=0))  # L12_0
sa_ro.add(gdstk.FlexPath([(105,5),(105,76.5)], 4, ends=(1, 1), simple_path=True, layer=12, datatype=0))  # L12_0
sa_ro.add(gdstk.FlexPath([(124,5),(124,76.5)], 4, ends=(1, 1), simple_path=True, layer=12, datatype=0))  # L12_0
sa_ro.add(gdstk.FlexPath([(143,5),(143,76.5)], 4, ends=(1, 1), simple_path=True, layer=12, datatype=0))  # L12_0
sa_ro.add(gdstk.FlexPath([(162,5),(162,76.5)], 4, ends=(1, 1), simple_path=True, layer=12, datatype=0))  # L12_0
sa_ro.add(gdstk.FlexPath([(181,5),(181,76.5)], 4, ends=(1, 1), simple_path=True, layer=12, datatype=0))  # L12_0
sa_ro.add(gdstk.FlexPath([(29,74.5),(181,74.5)], 6, ends=(4, 4), simple_path=True, layer=12, datatype=0))  # L12_0
sa_ro.add(gdstk.FlexPath([(1.5,1.5),(208.5,1.5)], 2, ends="extended", simple_path=True, layer=12, datatype=0))  # L12_0
r = gdstk.Reference(sa_vco_inv, (19,37)); r.repetition = gdstk.Repetition(9, 1, v1=(19,0), v2=(0,0)); sa_ro.add(r)
r = gdstk.Reference(psubcont_1, (1.5,1.5)); r.repetition = gdstk.Repetition(70, 1, v1=(3,0), v2=(0,0)); sa_ro.add(r)
r = gdstk.Reference(psubcont_1, (1.5,76.5)); r.repetition = gdstk.Repetition(70, 1, v1=(3,0), v2=(0,0)); sa_ro.add(r)
r = gdstk.Reference(psubcont_1, (1.5,4.5)); r.repetition = gdstk.Repetition(1, 24, v1=(0,0), v2=(0,3)); sa_ro.add(r)
r = gdstk.Reference(psubcont_1, (208.5,4.5)); r.repetition = gdstk.Repetition(1, 24, v1=(0,0), v2=(0,3)); sa_ro.add(r)
sa_ro.add(gdstk.Reference(via2, (172.5,38.5)))
sa_ro.add(gdstk.Reference(via2, (168.5,38.5)))
sa_ro.add(gdstk.Reference(via_3, (170.5,38.5)))
sa_ro.add(gdstk.Reference(via2, (153.5,38.5)))
sa_ro.add(gdstk.Reference(via2, (149.5,38.5)))
sa_ro.add(gdstk.Reference(via_3, (151.5,38.5)))
sa_ro.add(gdstk.Reference(via2, (134.5,38.5)))
sa_ro.add(gdstk.Reference(via2, (130.5,38.5)))
sa_ro.add(gdstk.Reference(via_3, (132.5,38.5)))
sa_ro.add(gdstk.Reference(via2, (115.5,38.5)))
sa_ro.add(gdstk.Reference(via2, (111.5,38.5)))
sa_ro.add(gdstk.Reference(via_3, (113.5,38.5)))
sa_ro.add(gdstk.Reference(via2, (96.5,38.5)))
sa_ro.add(gdstk.Reference(via2, (92.5,38.5)))
sa_ro.add(gdstk.Reference(via_3, (94.5,38.5)))
sa_ro.add(gdstk.Reference(via2, (77.5,38.5)))
sa_ro.add(gdstk.Reference(via2, (73.5,38.5)))
sa_ro.add(gdstk.Reference(via_3, (75.5,38.5)))
sa_ro.add(gdstk.Reference(via2, (58.5,38.5)))
sa_ro.add(gdstk.Reference(via2, (54.5,38.5)))
sa_ro.add(gdstk.Reference(via_3, (56.5,38.5)))
sa_ro.add(gdstk.Reference(via2, (39.5,38.5)))
sa_ro.add(gdstk.Reference(via2, (35.5,38.5)))
sa_ro.add(gdstk.Reference(via_3, (37.5,38.5)))
r = gdstk.Reference(via_3, (201.5,33.5)); r.repetition = gdstk.Repetition(1, 6, v1=(0,0), v2=(0,2)); sa_ro.add(r)
r = gdstk.Reference(via_3, (83,70)); r.repetition = gdstk.Repetition(4, 1, v1=(2,0), v2=(0,0)); sa_ro.add(r)
r = gdstk.Reference(via2, (83,72)); r.repetition = gdstk.Repetition(4, 1, v1=(2,0), v2=(0,0)); sa_ro.add(r)
r = gdstk.Reference(via2, (83,5)); r.repetition = gdstk.Repetition(4, 1, v1=(2,0), v2=(0,0)); sa_ro.add(r)
r = gdstk.Reference(via_3, (83,7)); r.repetition = gdstk.Repetition(4, 1, v1=(2,0), v2=(0,0)); sa_ro.add(r)
r = gdstk.Reference(sa_vco_inv_1, (189,40), rotation=pi); r.repetition = gdstk.Repetition(8, 1, v1=(-19,0), v2=(0,0)); sa_ro.add(r)
sa_ro.add(gdstk.Reference(pcont_4, (-41,38.5)))
sa_ro.add(gdstk.Reference(pcont_4, (-39,38.5)))
sa_ro.add(gdstk.Reference(pcont_4, (-37,38.5)))
r = gdstk.Reference(via2, (159,72)); r.repetition = gdstk.Repetition(4, 1, v1=(2,0), v2=(0,0)); sa_ro.add(r)
r = gdstk.Reference(via_3, (140,70)); r.repetition = gdstk.Repetition(4, 1, v1=(2,0), v2=(0,0)); sa_ro.add(r)
r = gdstk.Reference(via2, (140,72)); r.repetition = gdstk.Repetition(4, 1, v1=(2,0), v2=(0,0)); sa_ro.add(r)
r = gdstk.Reference(via_3, (178,70)); r.repetition = gdstk.Repetition(4, 1, v1=(2,0), v2=(0,0)); sa_ro.add(r)
r = gdstk.Reference(via2, (178,72)); r.repetition = gdstk.Repetition(4, 1, v1=(2,0), v2=(0,0)); sa_ro.add(r)
sa_ro.add(gdstk.Reference(nch_2, (190.5,42)))
r = gdstk.Reference(via2, (102,72)); r.repetition = gdstk.Repetition(4, 1, v1=(2,0), v2=(0,0)); sa_ro.add(r)
r = gdstk.Reference(via_3, (102,70)); r.repetition = gdstk.Repetition(4, 1, v1=(2,0), v2=(0,0)); sa_ro.add(r)
sa_ro.add(gdstk.Reference(pcont_3, (193,43)))
r = gdstk.Reference(via_3, (121,70)); r.repetition = gdstk.Repetition(4, 1, v1=(2,0), v2=(0,0)); sa_ro.add(r)
r = gdstk.Reference(via2, (121,72)); r.repetition = gdstk.Repetition(4, 1, v1=(2,0), v2=(0,0)); sa_ro.add(r)
sa_ro.add(gdstk.Reference(pcont_3, (193,65)))
sa_ro.add(gdstk.Reference(pch_3, (190.5,56)))
r = gdstk.Reference(via_3, (159,70)); r.repetition = gdstk.Repetition(4, 1, v1=(2,0), v2=(0,0)); sa_ro.add(r)
r = gdstk.Reference(via2, (26,72)); r.repetition = gdstk.Repetition(4, 1, v1=(2,0), v2=(0,0)); sa_ro.add(r)
r = gdstk.Reference(via2, (64,72)); r.repetition = gdstk.Repetition(4, 1, v1=(2,0), v2=(0,0)); sa_ro.add(r)
sa_ro.add(gdstk.Reference(nch_2, (12.5,42)))
r = gdstk.Reference(via_3, (64,70)); r.repetition = gdstk.Repetition(4, 1, v1=(2,0), v2=(0,0)); sa_ro.add(r)
sa_ro.add(gdstk.Reference(pcont_3, (15,43)))
sa_ro.add(gdstk.Reference(pcont_3, (15,65)))
sa_ro.add(gdstk.Reference(pch_3, (12.5,56)))
r = gdstk.Reference(via_3, (45,70)); r.repetition = gdstk.Repetition(4, 1, v1=(2,0), v2=(0,0)); sa_ro.add(r)
r = gdstk.Reference(via2, (45,72)); r.repetition = gdstk.Repetition(4, 1, v1=(2,0), v2=(0,0)); sa_ro.add(r)
r = gdstk.Reference(via_3, (26,70)); r.repetition = gdstk.Repetition(4, 1, v1=(2,0), v2=(0,0)); sa_ro.add(r)
r = gdstk.Reference(via_3, (45,7)); r.repetition = gdstk.Repetition(4, 1, v1=(2,0), v2=(0,0)); sa_ro.add(r)
r = gdstk.Reference(via2, (45,5)); r.repetition = gdstk.Repetition(4, 1, v1=(2,0), v2=(0,0)); sa_ro.add(r)
r = gdstk.Reference(via_3, (26,7)); r.repetition = gdstk.Repetition(4, 1, v1=(2,0), v2=(0,0)); sa_ro.add(r)
r = gdstk.Reference(via2, (26,5)); r.repetition = gdstk.Repetition(4, 1, v1=(2,0), v2=(0,0)); sa_ro.add(r)
sa_ro.add(gdstk.Reference(nch_2, (17.5,35), rotation=pi))
sa_ro.add(gdstk.Reference(via2, (77.5,3.5)))
sa_ro.add(gdstk.Reference(via2, (73.5,3.5)))
sa_ro.add(gdstk.Reference(via_3, (75.5,3.5)))
sa_ro.add(gdstk.Reference(via2, (58.5,3.5)))
sa_ro.add(gdstk.Reference(via2, (54.5,3.5)))
sa_ro.add(gdstk.Reference(via_3, (56.5,3.5)))
sa_ro.add(gdstk.Reference(via2, (39.5,3.5)))
sa_ro.add(gdstk.Reference(via2, (35.5,3.5)))
sa_ro.add(gdstk.Reference(via_3, (37.5,3.5)))
r = gdstk.Reference(via_3, (64,7)); r.repetition = gdstk.Repetition(4, 1, v1=(2,0), v2=(0,0)); sa_ro.add(r)
r = gdstk.Reference(psubcont_2, (-41,22.5)); r.repetition = gdstk.Repetition(6, 1, v1=(3,0), v2=(0,0)); sa_ro.add(r)
sa_ro.add(gdstk.Reference(nch_5, (-40.5,26)))
r = gdstk.Reference(via2, (64,5)); r.repetition = gdstk.Repetition(4, 1, v1=(2,0), v2=(0,0)); sa_ro.add(r)
sa_ro.add(gdstk.Reference(nch_4, (-28.5,26)))
sa_ro.add(gdstk.Reference(nch_4, (-43.5,26)))
sa_ro.add(gdstk.Reference(pcont_3, (15,12)))
sa_ro.add(gdstk.Reference(pch_3, (17.5,21), rotation=pi))
sa_ro.add(gdstk.Reference(pcont_3, (15,34)))
r = gdstk.Reference(via_3, (178,7)); r.repetition = gdstk.Repetition(4, 1, v1=(2,0), v2=(0,0)); sa_ro.add(r)
r = gdstk.Reference(via2, (178,5)); r.repetition = gdstk.Repetition(4, 1, v1=(2,0), v2=(0,0)); sa_ro.add(r)
sa_ro.add(gdstk.Reference(nch_2, (195.5,35), rotation=pi))
sa_ro.add(gdstk.Reference(pcont_3, (193,12)))
sa_ro.add(gdstk.Reference(via2, (172.5,3.5)))
sa_ro.add(gdstk.Reference(via2, (168.5,3.5)))
sa_ro.add(gdstk.Reference(via_3, (170.5,3.5)))
sa_ro.add(gdstk.Reference(via2, (153.5,3.5)))
sa_ro.add(gdstk.Reference(via2, (149.5,3.5)))
sa_ro.add(gdstk.Reference(via_3, (151.5,3.5)))
sa_ro.add(gdstk.Reference(via2, (134.5,3.5)))
sa_ro.add(gdstk.Reference(via2, (130.5,3.5)))
sa_ro.add(gdstk.Reference(via_3, (132.5,3.5)))
sa_ro.add(gdstk.Reference(via2, (115.5,3.5)))
sa_ro.add(gdstk.Reference(via2, (111.5,3.5)))
sa_ro.add(gdstk.Reference(via_3, (113.5,3.5)))
r = gdstk.Reference(via_3, (121,7)); r.repetition = gdstk.Repetition(4, 1, v1=(2,0), v2=(0,0)); sa_ro.add(r)
r = gdstk.Reference(via2, (121,5)); r.repetition = gdstk.Repetition(4, 1, v1=(2,0), v2=(0,0)); sa_ro.add(r)
sa_ro.add(gdstk.Reference(pcont_3, (193,34)))
sa_ro.add(gdstk.Reference(pch_3, (195.5,21), rotation=pi))
r = gdstk.Reference(via_3, (159,7)); r.repetition = gdstk.Repetition(4, 1, v1=(2,0), v2=(0,0)); sa_ro.add(r)
r = gdstk.Reference(via_3, (102,7)); r.repetition = gdstk.Repetition(4, 1, v1=(2,0), v2=(0,0)); sa_ro.add(r)
r = gdstk.Reference(via2, (102,5)); r.repetition = gdstk.Repetition(4, 1, v1=(2,0), v2=(0,0)); sa_ro.add(r)
sa_ro.add(gdstk.Reference(via2, (96.5,3.5)))
sa_ro.add(gdstk.Reference(via2, (92.5,3.5)))
sa_ro.add(gdstk.Reference(via_3, (94.5,3.5)))
r = gdstk.Reference(via2, (159,5)); r.repetition = gdstk.Repetition(4, 1, v1=(2,0), v2=(0,0)); sa_ro.add(r)
r = gdstk.Reference(via_3, (140,7)); r.repetition = gdstk.Repetition(4, 1, v1=(2,0), v2=(0,0)); sa_ro.add(r)
r = gdstk.Reference(via2, (140,5)); r.repetition = gdstk.Repetition(4, 1, v1=(2,0), v2=(0,0)); sa_ro.add(r)
sa_ro.add(gdstk.Label('OUT', (204,38.5), layer=10, texttype=0))
sa_ro.add(gdstk.Label('BIAS_IN', (-41,38.5), layer=5, texttype=0))
sa_ro.add(gdstk.Label('VDD', (76,74), layer=12, texttype=0))
sa_ro.add(gdstk.Label('VSS', (84,1.5), layer=12, texttype=0))

lib.write_gds('SA_RO.gds')
